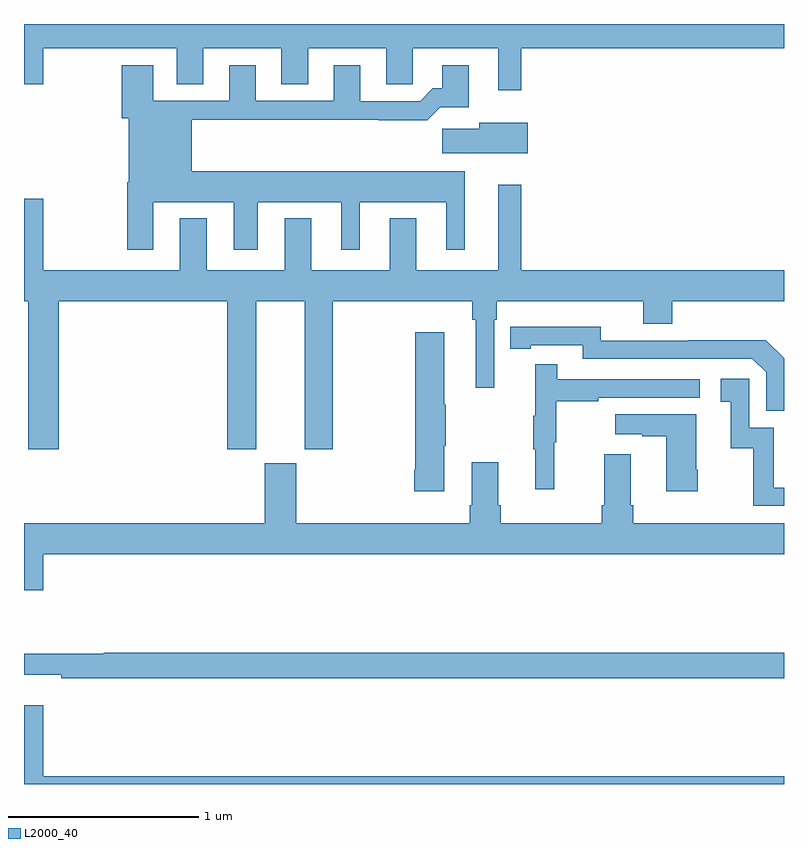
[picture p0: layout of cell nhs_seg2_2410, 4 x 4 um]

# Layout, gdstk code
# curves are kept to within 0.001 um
import gdstk
lib = gdstk.Library(unit=1e-6, precision=1e-09)
def P(c, l, *ps):  # polygons
    for p in ps: c.add(gdstk.Polygon(p, *l))
L2000_40 = (2000, 40)

nhs_seg2_2410 = lib.new_cell('nhs_seg2_2410')
P(nhs_seg2_2410, L2000_40, [(239.617,611.672),(241,611.672),(241,611.8),(237,611.8),(237,611.484),(237.1,611.484),(237.1,611.672),(237.803,611.672),(237.803,611.482),(237.943,611.482),(237.943,611.672),(238.355,611.672),(238.355,611.482),(238.495,611.482),(238.495,611.672),(238.907,611.672),(238.907,611.482),(239.046,611.482),(239.046,611.672),(239.495,611.672),(239.495,611.451),(239.617,611.451)],
  [(237.679,610.862),(238.103,610.862),(238.103,610.611),(238.231,610.611),(238.231,610.862),(238.67,610.862),(238.67,610.611),(238.768,610.611),(238.768,610.862),(239.222,610.862),(239.222,610.611),(239.32,610.611),(239.32,611.026),(237.883,611.026),(237.883,611.296),(238.867,611.296),(238.867,611.294),(239.123,611.294),(239.192,611.363),(239.341,611.363),(239.341,611.584),(239.201,611.584),(239.201,611.461),(239.152,611.461),(239.085,611.394),(238.771,611.394),(238.771,611.584),(238.631,611.584),(238.631,611.397),(238.219,611.397),(238.219,611.584),(238.079,611.584),(238.079,611.397),(237.679,611.397),(237.679,611.584),(237.515,611.584),(237.515,611.304),(237.551,611.304),(237.551,610.966),(237.544,610.966),(237.544,610.611),(237.679,610.611)],
  [(239.65,611.281),(239.396,611.281),(239.396,611.249),(239.202,611.249),(239.202,611.12),(239.65,611.12)],
  [(237,610.34),(237.022,610.34),(237.022,609.561),(237.182,609.561),(237.182,610.34),(238.07,610.34),(238.07,609.561),(238.222,609.561),(238.222,610.34),(238.478,610.34),(238.478,609.561),(238.626,609.561),(238.626,610.34),(239.359,610.34),(239.359,610.244),(239.378,610.244),(239.378,609.885),(239.475,609.885),(239.475,610.244),(239.489,610.244),(239.489,610.34),(240.26,610.34),(240.26,610.223),(240.413,610.223),(240.413,610.34),(241,610.34),(241,610.504),(239.617,610.504),(239.617,610.954),(239.495,610.954),(239.495,610.504),(239.065,610.504),(239.065,610.777),(238.925,610.777),(238.925,610.504),(238.513,610.504),(238.513,610.777),(238.373,610.777),(238.373,610.504),(237.961,610.504),(237.961,610.777),(237.821,610.777),(237.821,610.504),(237.1,610.504),(237.1,610.879),(237,610.879)],
  [(241,610.04),(240.904,610.136),(240.496,610.136),(240.496,610.134),(240.036,610.134),(240.036,610.207),(239.56,610.206),(239.56,610.09),(239.668,610.09),(239.668,610.11),(239.94,610.11),(239.94,610.038),(240.834,610.038),(240.906,609.966),(240.906,609.765),(241,609.765)],
  [(239.212,609.58),(239.22,609.58),(239.22,609.797),(239.212,609.797),(239.212,610.177),(239.059,610.177),(239.059,609.454),(239.054,609.454),(239.054,609.342),(239.212,609.342)],
  [(239.792,609.6),(239.8,609.6),(239.8,609.814),(240.023,609.814),(240.023,609.834),(240.556,609.834),(240.556,609.93),(239.807,609.93),(239.807,610.009),(239.69,610.009),(239.69,609.737),(239.679,609.737),(239.679,609.563),(239.69,609.563),(239.69,609.351),(239.792,609.351)],
  [(241,609.36),(240.945,609.36),(240.945,609.675),(240.816,609.675),(240.816,609.934),(240.666,609.934),(240.666,609.813),(240.719,609.813),(240.719,609.567),(240.837,609.567),(240.837,609.264),(241,609.264)],
  [(240.546,609.454),(240.538,609.454),(240.538,609.745),(240.111,609.745),(240.111,609.641),(240.254,609.641),(240.254,609.631),(240.38,609.631),(240.38,609.342),(240.546,609.342)],
  [(237.1,609.008),(241,609.008),(241,609.172),(240.206,609.172),(240.206,609.268),(240.193,609.268),(240.193,609.535),(240.053,609.535),(240.053,609.268),(240.041,609.268),(240.041,609.172),(239.51,609.172),(239.51,609.268),(239.497,609.268),(239.497,609.493),(239.357,609.493),(239.357,609.268),(239.345,609.268),(239.345,609.172),(238.432,609.172),(238.432,609.489),(238.268,609.489),(238.268,609.172),(237,609.172),(237,608.82),(237.1,608.82)],
  [(241,608.492),(237.419,608.492),(237.419,608.485),(237,608.485),(237,608.375),(237.196,608.375),(237.196,608.356),(241,608.356)],
  [(241,607.84),(237.1,607.84),(237.1,608.215),(237,608.215),(237,607.8),(241,607.8)])

lib.write_gds('nhs_seg2_2410.gds')
